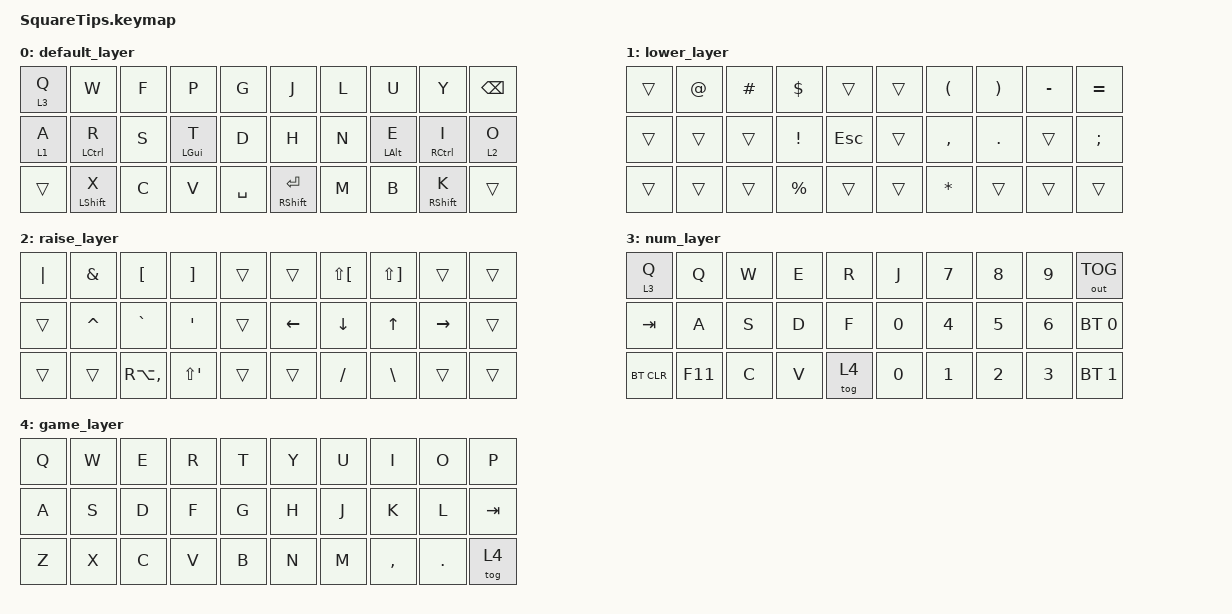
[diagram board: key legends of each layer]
/*
 * Copyright (c) 2020 The ZMK Contributors
 *
 * SPDX-License-Identifier: MIT
 */

#include <behaviors.dtsi>
#include <dt-bindings/zmk/keys.h>
#include <dt-bindings/zmk/bt.h>
#include <dt-bindings/zmk/outputs.h>

&mt {
    tapping-term-ms = <600>;
};

/ {
      combos {
          compatible = "zmk,combos";
          combo_bspc {
              timeout-ms = <50>;
              key-positions = <16 17>;
              bindings = <&kp TAB>;
          };
          combo_spc {
              timeout-ms = <50>;
              key-positions = <12 13>;
              bindings = <&kp SPACE>;
          };

          combo_z {
              timeout-ms = <50>;
              key-positions = <21 22>;
              bindings = <&kp Z>;
          };

          combo_enter {
              timeout-ms = <50>;
              key-positions = <17 18>;
              bindings = <&kp RET>;
          };
      };	

        keymap {
                compatible = "zmk,keymap";

                default_layer {
                        bindings = <
                           &lt 3 Q     &kp W        &kp F         &kp P      &kp G       &kp J         &kp L  &kp U       &kp Y       &kp BSPC   
                           &lt 1 A     &mt LCTRL R  &kp S   &mt LGUI T &kp D       &kp H         &kp N  &mt LALT E  &mt RCTRL I &lt 2 O
                           &trans      &mt LSHFT X        &kp C         &kp V      &kp SPACE   &mt RSHFT RET &kp M  &kp B       &mt RSHFT K   &trans
                        >;
                };
                lower_layer {
                        bindings = <
                         &trans  &kp AT &kp HASH  &kp DLLR   &trans   &trans &kp LPAR   &kp RPAR &kp MINUS &kp EQUAL    
                         &trans  &trans &trans    &kp EXCL   &kp ESC  &trans &kp COMMA  &kp DOT  &trans    &kp SEMI
                         &trans  &trans &trans    &kp PRCNT  &trans   &trans &kp STAR      &trans   &trans    &trans 
                        >; 
                }; 

                raise_layer {
                        bindings = <
                         &kp PIPE &kp AMPS  &kp LBKT      &kp RBKT    &trans &trans   &kp LS(LBKT) &kp LS(RBKT) &trans      &trans
                         &trans   &kp CARET &kp GRAVE     &kp SQT     &trans &kp LEFT &kp DOWN     &kp UP       &kp RIGHT   &trans
                         &trans   &trans    &kp RA(COMMA) &kp LS(SQT) &trans &trans   &kp SLASH    &kp BSLH     &trans      &trans 
                       >;
                };

                num_layer {
                        bindings = <
                          &lt 3 Q    &kp Q &kp W &kp E &kp R     &kp J   &kp N7  &kp N8   &kp N9    &out OUT_TOG
                          &kp TAB    &kp A &kp S &kp D &kp F    &kp N0  &kp N4  &kp N5   &kp N6     &bt BT_SEL 0
                          &bt BT_CLR &kp F11 &kp C &kp V  &tog 4      &kp N0  &kp N1  &kp N2   &kp N3 &bt BT_SEL 1
                        >;

                };

                game_layer {
                        bindings = <
                           &kp Q  &kp W  &kp E   &kp R  &kp T   &kp Y &kp U  &kp I      &kp O   &kp P   
                           &kp A  &kp S  &kp D   &kp F  &kp G   &kp H &kp J  &kp K      &kp L   &kp TAB
                           &kp Z  &kp X  &kp C   &kp V  &kp B   &kp N &kp M  &kp COMMA  &kp DOT &tog 4
                        >;
                };
        };
};
